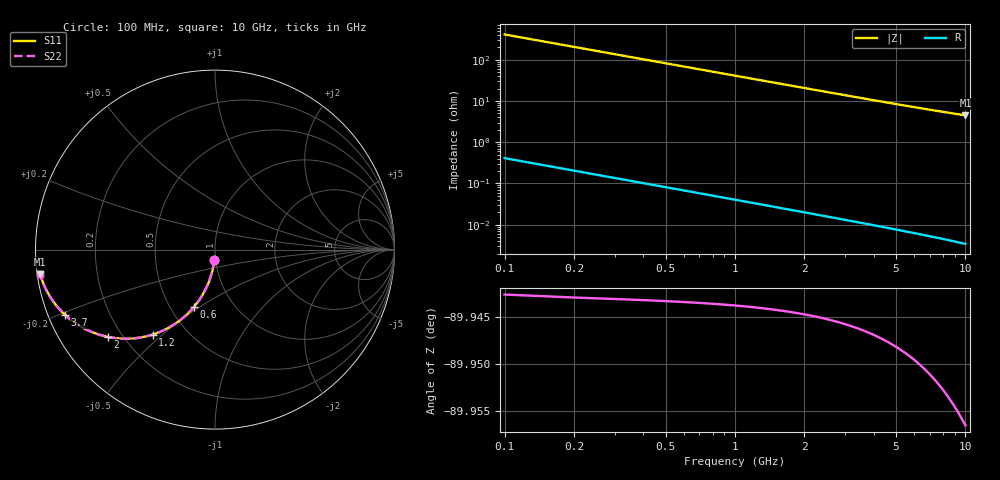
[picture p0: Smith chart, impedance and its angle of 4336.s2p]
# Hz S RI R 50.00
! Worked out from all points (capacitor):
!   100 points, 100 MHz to 10 GHz, reference 50 ohm
!   read as one part in shunt: C = 3.87 pF near 100 MHz
!   lowest |Z| = 4.5 ohm at 10 GHz (marker M1)
!   S11 on the Smith chart (normalised r, x): 100 MHz: 0.99, -0.12; 600 MHz: 0.65, -0.47; 1.2 GHz: 0.32, -0.46; 2 GHz: 0.15, -0.35; 3.7 GHz: 0.05, -0.21; 10 GHz: 0.01, -0.07
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1e8  -0.00371 -0.0604  0.9962 -0.0608  0.9962 -0.0608  -0.00371 -0.0604
2e8  -0.0147 -0.1195  0.9853 -0.1202  0.9853 -0.1202  -0.0147 -0.1195
3e8  -0.0323 -0.1759  0.9676 -0.177  0.9676 -0.177  -0.0323 -0.1759
4e8  -0.056 -0.2288  0.9439 -0.2302  0.9439 -0.2302  -0.056 -0.2288
5e8  -0.0848 -0.2772  0.9152 -0.279  0.9152 -0.279  -0.0848 -0.2772
6e8  -0.1176 -0.3206  0.8823 -0.3227  0.8823 -0.3227  -0.1176 -0.3206
7e8  -0.1535 -0.3588  0.8464 -0.3612  0.8464 -0.3612  -0.1535 -0.3588
9e8  -0.2305 -0.4191  0.7695 -0.4222  0.7695 -0.4222  -0.2305 -0.4191
1.2e9  -0.3472 -0.4735  0.6527 -0.4777  0.6527 -0.4777  -0.3472 -0.4735
1.5e9  -0.4536 -0.4947  0.5463 -0.5  0.5463 -0.5  -0.4536 -0.4947
1.8e9  -0.5443 -0.4943  0.4556 -0.5007  0.4556 -0.5007  -0.5443 -0.4943
2e9  -0.5958 -0.4867  0.4041 -0.4938  0.4041 -0.4938  -0.5958 -0.4867
2.3e9  -0.6608 -0.4688  0.3391 -0.477  0.3391 -0.477  -0.6608 -0.4688
2.6e9  -0.7134 -0.447  0.2865 -0.4563  0.2865 -0.4563  -0.7134 -0.447
3e9  -0.7681 -0.4161  0.2318 -0.4269  0.2318 -0.4269  -0.7681 -0.4161
3.4e9  -0.8097 -0.3859  0.1902 -0.3981  0.1902 -0.3981  -0.8097 -0.3859
3.7e9  -0.8344 -0.3645  0.1654 -0.3778  0.1654 -0.3778  -0.8344 -0.3645
4.3e9  -0.8719 -0.3257  0.1279 -0.3413  0.1279 -0.3413  -0.8719 -0.3257
5.1e9  -0.9056 -0.2824  0.0942 -0.301  0.0942 -0.301  -0.9056 -0.2824
6.7e9  -0.9433 -0.2179  0.0563 -0.2427  0.0563 -0.2427  -0.9433 -0.2179
8.4e9  -0.9635 -0.1704  0.0359 -0.2021  0.0359 -0.2021  -0.9635 -0.1704
1e10  -0.9742 -0.1375  0.025 -0.1759  0.025 -0.1759  -0.9742 -0.1375
